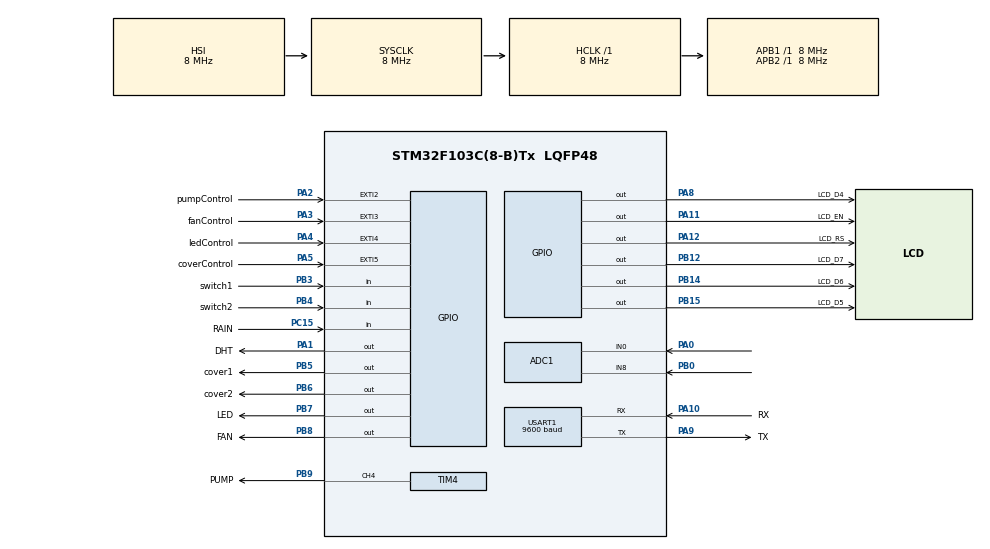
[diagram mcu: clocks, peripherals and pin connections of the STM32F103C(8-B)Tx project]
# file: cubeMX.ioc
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ADC1.Channel-3\#ChannelRegularConversion=ADC_CHANNEL_0
ADC1.Channel-5\#ChannelRegularConversion=ADC_CHANNEL_8
ADC1.ContinuousConvMode=ENABLE
ADC1.DiscontinuousConvMode=DISABLE
ADC1.EnableInjectedConversion=DISABLE
ADC1.EnableRegularConversion=ENABLE
ADC1.InjNumberOfConversion=0
ADC1.NbrOfConversion=2
ADC1.NbrOfConversionFlag=1
ADC1.Rank-3\#ChannelRegularConversion=1
ADC1.Rank-5\#ChannelRegularConversion=2
ADC1.SamplingTime-3\#ChannelRegularConversion=ADC_SAMPLETIME_1CYCLE_5
ADC1.SamplingTime-5\#ChannelRegularConversion=ADC_SAMPLETIME_1CYCLE_5
ADC1.master=1
Mcu.Family=STM32F1
Mcu.Name=STM32F103C(8-B)Tx
Mcu.Package=LQFP48
NVIC.EXTI2_IRQn=true\:3\:0\:true\:false\:true\:true\:true\:true
NVIC.EXTI3_IRQn=true\:3\:0\:true\:false\:true\:true\:true\:true
NVIC.EXTI4_IRQn=true\:3\:0\:true\:false\:true\:true\:true\:true
NVIC.EXTI9_5_IRQn=true\:3\:0\:true\:false\:true\:true\:true\:true
NVIC.PriorityGroup=NVIC_PRIORITYGROUP_4
NVIC.USART1_IRQn=true\:2\:0\:true\:false\:true\:true\:true\:true
PA0-WKUP.Signal=ADCx_IN0
PA1.GPIO_Label=DHT
PA1.Signal=GPIO_Output
PA10.GPIO_Label=RX
PA10.Mode=Asynchronous
PA10.Signal=USART1_RX
PA11.GPIO_Label=LCD_EN
PA11.Signal=GPIO_Output
PA12.GPIO_Label=LCD_RS
PA12.Signal=GPIO_Output
PA13.Mode=Serial_Wire
PA13.Signal=SYS_JTMS-SWDIO
PA14.Mode=Serial_Wire
PA14.Signal=SYS_JTCK-SWCLK
PA2.GPIO_Label=pumpControl
PA2.GPIO_ModeDefaultEXTI=GPIO_MODE_IT_FALLING
PA2.GPIO_PuPd=GPIO_PULLUP
PA2.Signal=GPXTI2
PA3.GPIO_Label=fanControl
PA3.GPIO_ModeDefaultEXTI=GPIO_MODE_IT_FALLING
PA3.GPIO_PuPd=GPIO_PULLUP
PA3.Signal=GPXTI3
PA4.GPIO_Label=ledControl
PA4.GPIO_ModeDefaultEXTI=GPIO_MODE_IT_FALLING
PA4.GPIO_PuPd=GPIO_PULLUP
PA4.Signal=GPXTI4
PA5.GPIO_Label=coverControl
PA5.GPIO_ModeDefaultEXTI=GPIO_MODE_IT_FALLING
PA5.GPIO_PuPd=GPIO_PULLUP
PA5.Signal=GPXTI5
PA8.GPIO_Label=LCD_D4
PA8.Signal=GPIO_Output
PA9.GPIO_Label=TX
PA9.Mode=Asynchronous
PA9.Signal=USART1_TX
PB0.Signal=ADCx_IN8
PB12.GPIO_Label=LCD_D7
PB12.Signal=GPIO_Output
PB14.GPIO_Label=LCD_D6
PB14.Signal=GPIO_Output
PB15.GPIO_Label=LCD_D5
PB15.Signal=GPIO_Output
PB3.GPIO_Label=switch1
PB3.Signal=GPIO_Input
PB4.GPIO_Label=switch2
PB4.Signal=GPIO_Input
PB5.GPIO_Label=cover1
PB5.Signal=GPIO_Output
PB6.GPIO_Label=cover2
PB6.Signal=GPIO_Output
PB7.GPIO_Label=LED
PB7.Signal=GPIO_Output
PB8.GPIO_Label=FAN
PB8.Signal=GPIO_Output
PB9.GPIO_Label=PUMP
PB9.Signal=S_TIM4_CH4
PC15-OSC32_OUT.GPIO_Label=RAIN
PC15-OSC32_OUT.Signal=GPIO_Input
ProjectManager.HeapSize=0x200
ProjectManager.StackSize=0x400
ProjectManager.TargetToolchain=MDK-ARM V5
RCC.AHBFreq_Value=8000000
RCC.APB1Freq_Value=8000000
RCC.APB1TimFreq_Value=8000000
RCC.APB2Freq_Value=8000000
RCC.APB2TimFreq_Value=8000000
RCC.HCLKFreq_Value=8000000
RCC.SYSCLKFreq_VALUE=8000000
RCC.USBFreq_Value=8000000
SH.ADCx_IN0.0=ADC1_IN0,IN0
SH.ADCx_IN8.0=ADC1_IN8,IN8
SH.S_TIM4_CH4.0=TIM4_CH4,PWM Generation4 CH4
TIM2.Prescaler=7
TIM4.Channel-PWM\ Generation4\ CH4=TIM_CHANNEL_4
TIM4.Period=99
TIM4.Prescaler=15
USART1.BaudRate=9600
USART1.VirtualMode=VM_ASYNC
VP_TIM2_VS_ClockSourceINT.Mode=Internal
VP_TIM4_VS_ClockSourceINT.Mode=Internal
board=custom

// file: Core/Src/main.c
/* USER CODE BEGIN Header */
/**
  ******************************************************************************
  * @file           : main.c
  * @brief          : Main program body
  ******************************************************************************
  * @attention
  *
  * Copyright (c) 2023 STMicroelectronics.
  * All rights reserved.
  *
  * This software is licensed under terms that can be found in the LICENSE file
  * in the root directory of this software component.
  * If no LICENSE file comes with this software, it is provided AS-IS.
  *
  ******************************************************************************
  */
/* USER CODE END Header */
#include "main.h"

/* USER CODE BEGIN Includes */
#include <stdio.h>
/* USER CODE END Includes */

ADC_HandleTypeDef hadc1;

TIM_HandleTypeDef htim2;
TIM_HandleTypeDef htim4;

UART_HandleTypeDef huart1;

/* USER CODE BEGIN PV */
/* VARIABLES SAVE VALUE OF SENSOR*/
int Temperature = 0, Humidity = 0;
int Soil = 0, Light = 0;
char statusRain = '0';
/* VARIABLES SAVE STATUS OF DEVICE */
char mode = '1';
int statusPump = 0, statusFan = 0, statusLed = 0, statusCover = 0, pullOut = 0;
/* VARIABLES SAVE UART */
char charR, null;
char stringR[18], arrData[20];
int id = -1;
/* VARIABLES SAVE RTC */
char rtc;
/* VARIABLES SAVE VALUE SET FOR MODE OF AUTO */
int lowerThreshold[3], upperThreshold[3];
/* USER CODE END PV */

void SystemClock_Config(void);
static void MX_GPIO_Init(void);
static void MX_TIM2_Init(void);
static void MX_USART1_UART_Init(void);
static void MX_ADC1_Init(void);
static void MX_TIM4_Init(void);

/* USER CODE BEGIN 0 */
#define DHT11_PORT GPIOA
#define DHT11_PIN DHT_Pin

void delayUs(uint16_t us);//delay micro second
void setPinIO(uint8_t io);//set input or output for DHT_PIN
void DHT11_Start ();//start communicate with DHT
uint8_t DHT11_Check_Response ();//check response from DHT
uint8_t DHT11_Read ();//get signal from DHT11
void lcdEnable();//set to enable send to LCD
void lcdSend4Bit(unsigned char data);//config 4 bit - LCD
void lcdCommand(unsigned char command);//send command
void lcdChar(unsigned char data);//send char
void lcdString(char *s);// send string
void lcdClear();//delete display
void lcdRowCol(unsigned char row, unsigned char collumn);//set row and collumn
void lcdInit();//Initnalize for LCD
void getValueDHT();//caculate and save DHT-value
void getValueSoilRainLight();//caculate and save SOIL - RAIN - LIGHT
void printValueSensor();//print value sensor to LCD
void controlDevice();//check and control device
void selectChannelADC(int selectMode);//select ADC-channel to use
void setValueControl();//control device according to the value setting
void HAL_GPIO_EXTI_Callback(uint16_t GPIO_Pin);//call to external interrupt
void HAL_UART_RxCpltCallback(UART_HandleTypeDef *huart);//call to UART interrupt
int convertToInt(char c);//convert char to int
char convertToChar(int i);//convert int to char

/* USER CODE END 0 */

int main(void)
{
  /* USER CODE BEGIN 1 */
  char format1[18], format2[18];
  /* USER CODE END 1 */

  /* MCU Configuration--------------------------------------------------------*/

  /* Reset of all peripherals, Initializes the Flash interface and the Systick. */
  HAL_Init();

  /* Configure the system clock */
  SystemClock_Config();

  /* Initialize all configured peripherals */
  MX_GPIO_Init();
  MX_TIM2_Init();
  MX_USART1_UART_Init();
  MX_ADC1_Init();
  MX_TIM4_Init();
  /* USER CODE BEGIN 2 */

  HAL_TIM_Base_Start(&htim2);
  lcdInit();
  lcdRowCol(1, 3);
  lcdString("SMART GARDEN");
  lcdRowCol(2, 2);
  lcdString("HUY-HIEU-TRONG");
  HAL_Delay(2000);
  lcdClear();
  lcdRowCol(1, 1);
  sprintf(format1, "T%c %cAIR%cSOIL%cAS", 0xDF, 0xFF, 0xFF, 0xFF);
  lcdString(format1);
  lcdRowCol(2, 3);
  sprintf(format2, "%c%c  %c%c  %c %c  %c", 0x43, 0xFF, 0x25, 0xFF, 0x25, 0xFF, 0x25);
  lcdString(format2);
  HAL_TIM_PWM_Start(&htim4, TIM_CHANNEL_4);
  HAL_UART_Receive_IT(&huart1,(uint8_t *)&charR,1);
  HAL_UART_Transmit(&huart1, (uint8_t*)&"Hello World!", 13, 100);

  /* USER CODE END 2 */

  /* Infinite loop */
  /* USER CODE BEGIN WHILE */
  while (1)
  {
	  getValueDHT();
    getValueSoilRainLight();
    printValueSensor();
    if(mode == '3')
      setValueControl();
    controlDevice();
		HAL_Delay(1200);
    /* USER CODE END WHILE */

  }
}

void SystemClock_Config(void)
{
  RCC_OscInitTypeDef RCC_OscInitStruct = {0};
  RCC_ClkInitTypeDef RCC_ClkInitStruct = {0};
  RCC_PeriphCLKInitTypeDef PeriphClkInit = {0};

  /** Initializes the RCC Oscillators according to the specified parameters
  * in the RCC_OscInitTypeDef structure.
  */
  RCC_OscInitStruct.OscillatorType = RCC_OSCILLATORTYPE_HSI;
  RCC_OscInitStruct.HSIState = RCC_HSI_ON;
  RCC_OscInitStruct.HSICalibrationValue = RCC_HSICALIBRATION_DEFAULT;
  RCC_OscInitStruct.PLL.PLLState = RCC_PLL_NONE;
  if (HAL_RCC_OscConfig(&RCC_OscInitStruct) != HAL_OK)
  {
    Error_Handler();
  }

  /** Initializes the CPU, AHB and APB buses clocks
  */
  RCC_ClkInitStruct.ClockType = RCC_CLOCKTYPE_HCLK|RCC_CLOCKTYPE_SYSCLK
                              |RCC_CLOCKTYPE_PCLK1|RCC_CLOCKTYPE_PCLK2;
  RCC_ClkInitStruct.SYSCLKSource = RCC_SYSCLKSOURCE_HSI;
  RCC_ClkInitStruct.AHBCLKDivider = RCC_SYSCLK_DIV1;
  RCC_ClkInitStruct.APB1CLKDivider = RCC_HCLK_DIV1;
  RCC_ClkInitStruct.APB2CLKDivider = RCC_HCLK_DIV1;

  if (HAL_RCC_ClockConfig(&RCC_ClkInitStruct, FLASH_LATENCY_0) != HAL_OK)
  {
    Error_Handler();
  }
  PeriphClkInit.PeriphClockSelection = RCC_PERIPHCLK_ADC;
  PeriphClkInit.AdcClockSelection = RCC_ADCPCLK2_DIV2;
  if (HAL_RCCEx_PeriphCLKConfig(&PeriphClkInit) != HAL_OK)
  {
    Error_Handler();
  }
}

static void MX_ADC1_Init(void)
{

  ADC_ChannelConfTypeDef sConfig = {0};

  /** Common config
  */
  hadc1.Instance = ADC1;
  hadc1.Init.ScanConvMode = ADC_SCAN_ENABLE;
  hadc1.Init.ContinuousConvMode = ENABLE;
  hadc1.Init.DiscontinuousConvMode = DISABLE;
  hadc1.Init.ExternalTrigConv = ADC_SOFTWARE_START;
  hadc1.Init.DataAlign = ADC_DATAALIGN_RIGHT;
  hadc1.Init.NbrOfConversion = 2;
  if (HAL_ADC_Init(&hadc1) != HAL_OK)
  {
    Error_Handler();
  }

  /** Configure Regular Channel
  */
  sConfig.Channel = ADC_CHANNEL_0;
  sConfig.Rank = ADC_REGULAR_RANK_1;
  sConfig.SamplingTime = ADC_SAMPLETIME_1CYCLE_5;
  if (HAL_ADC_ConfigChannel(&hadc1, &sConfig) != HAL_OK)
  {
    Error_Handler();
  }

  /** Configure Regular Channel
  */
  sConfig.Channel = ADC_CHANNEL_8;
  sConfig.Rank = ADC_REGULAR_RANK_2;
  if (HAL_ADC_ConfigChannel(&hadc1, &sConfig) != HAL_OK)
  {
    Error_Handler();
  }

}

static void MX_TIM2_Init(void)
{

  TIM_ClockConfigTypeDef sClockSourceConfig = {0};
  TIM_MasterConfigTypeDef sMasterConfig = {0};

  htim2.Instance = TIM2;
  htim2.Init.Prescaler = 7;
  htim2.Init.CounterMode = TIM_COUNTERMODE_UP;
  htim2.Init.Period = 65535;
  htim2.Init.ClockDivision = TIM_CLOCKDIVISION_DIV1;
  htim2.Init.AutoReloadPreload = TIM_AUTORELOAD_PRELOAD_DISABLE;
  if (HAL_TIM_Base_Init(&htim2) != HAL_OK)
  {
    Error_Handler();
  }
  sClockSourceConfig.ClockSource = TIM_CLOCKSOURCE_INTERNAL;
  if (HAL_TIM_ConfigClockSource(&htim2, &sClockSourceConfig) != HAL_OK)
  {
    Error_Handler();
  }
  sMasterConfig.MasterOutputTrigger = TIM_TRGO_RESET;
  sMasterConfig.MasterSlaveMode = TIM_MASTERSLAVEMODE_DISABLE;
  if (HAL_TIMEx_MasterConfigSynchronization(&htim2, &sMasterConfig) != HAL_OK)
  {
    Error_Handler();
  }

}

static void MX_TIM4_Init(void)
{

  TIM_ClockConfigTypeDef sClockSourceConfig = {0};
  TIM_MasterConfigTypeDef sMasterConfig = {0};
  TIM_OC_InitTypeDef sConfigOC = {0};

  htim4.Instance = TIM4;
  htim4.Init.Prescaler = 15;
  htim4.Init.CounterMode = TIM_COUNTERMODE_UP;
  htim4.Init.Period = 99;
  htim4.Init.ClockDivision = TIM_CLOCKDIVISION_DIV1;
  htim4.Init.AutoReloadPreload = TIM_AUTORELOAD_PRELOAD_DISABLE;
  if (HAL_TIM_Base_Init(&htim4) != HAL_OK)
  {
    Error_Handler();
  }
  sClockSourceConfig.ClockSource = TIM_CLOCKSOURCE_INTERNAL;
  if (HAL_TIM_ConfigClockSource(&htim4, &sClockSourceConfig) != HAL_OK)
  {
    Error_Handler();
  }
  if (HAL_TIM_PWM_Init(&htim4) != HAL_OK)
  {
    Error_Handler();
  }
  sMasterConfig.MasterOutputTrigger = TIM_TRGO_RESET;
  sMasterConfig.MasterSlaveMode = TIM_MASTERSLAVEMODE_DISABLE;
  if (HAL_TIMEx_MasterConfigSynchronization(&htim4, &sMasterConfig) != HAL_OK)
  {
    Error_Handler();
  }
  sConfigOC.OCMode = TIM_OCMODE_PWM1;
  sConfigOC.Pulse = 0;
  sConfigOC.OCPolarity = TIM_OCPOLARITY_HIGH;
  sConfigOC.OCFastMode = TIM_OCFAST_DISABLE;
  if (HAL_TIM_PWM_ConfigChannel(&htim4, &sConfigOC, TIM_CHANNEL_4) != HAL_OK)
  {
    Error_Handler();
  }
  HAL_TIM_MspPostInit(&htim4);

}

static void MX_USART1_UART_Init(void)
{

  huart1.Instance = USART1;
  huart1.Init.BaudRate = 9600;
  huart1.Init.WordLength = UART_WORDLENGTH_8B;
  huart1.Init.StopBits = UART_STOPBITS_1;
  huart1.Init.Parity = UART_PARITY_NONE;
  huart1.Init.Mode = UART_MODE_TX_RX;
  huart1.Init.HwFlowCtl = UART_HWCONTROL_NONE;
  huart1.Init.OverSampling = UART_OVERSAMPLING_16;
  if (HAL_UART_Init(&huart1) != HAL_OK)
  {
    Error_Handler();
  }

}

static void MX_GPIO_Init(void)
{
  GPIO_InitTypeDef GPIO_InitStruct = {0};

  /* GPIO Ports Clock Enable */
  __HAL_RCC_GPIOC_CLK_ENABLE();
  __HAL_RCC_GPIOA_CLK_ENABLE();
  __HAL_RCC_GPIOB_CLK_ENABLE();

  /*Configure GPIO pin Output Level */
  HAL_GPIO_WritePin(GPIOA, DHT_Pin|LCD_D4_Pin|LCD_EN_Pin|LCD_RS_Pin, GPIO_PIN_RESET);

  /*Configure GPIO pin Output Level */
  HAL_GPIO_WritePin(GPIOB, LCD_D7_Pin|LCD_D6_Pin|LCD_D5_Pin|cover1_Pin
                          |cover2_Pin|LED_Pin|FAN_Pin, GPIO_PIN_RESET);

  /*Configure GPIO pin : RAIN_Pin */
  GPIO_InitStruct.Pin = RAIN_Pin;
  GPIO_InitStruct.Mode = GPIO_MODE_INPUT;
  GPIO_InitStruct.Pull = GPIO_NOPULL;
  HAL_GPIO_Init(RAIN_GPIO_Port, &GPIO_InitStruct);

  /*Configure GPIO pins : DHT_Pin LCD_D4_Pin LCD_EN_Pin LCD_RS_Pin */
  GPIO_InitStruct.Pin = DHT_Pin|LCD_D4_Pin|LCD_EN_Pin|LCD_RS_Pin;
  GPIO_InitStruct.Mode = GPIO_MODE_OUTPUT_PP;
  GPIO_InitStruct.Pull = GPIO_NOPULL;
  GPIO_InitStruct.Speed = GPIO_SPEED_FREQ_LOW;
  HAL_GPIO_Init(GPIOA, &GPIO_InitStruct);

  /*Configure GPIO pins : pumpControl_Pin fanControl_Pin ledControl_Pin coverControl_Pin */
  GPIO_InitStruct.Pin = pumpControl_Pin|fanControl_Pin|ledControl_Pin|coverControl_Pin;
  GPIO_InitStruct.Mode = GPIO_MODE_IT_FALLING;
  GPIO_InitStruct.Pull = GPIO_PULLUP;
  HAL_GPIO_Init(GPIOA, &GPIO_InitStruct);

  /*Configure GPIO pins : LCD_D7_Pin LCD_D6_Pin LCD_D5_Pin cover1_Pin
                           cover2_Pin LED_Pin FAN_Pin */
  GPIO_InitStruct.Pin = LCD_D7_Pin|LCD_D6_Pin|LCD_D5_Pin|cover1_Pin
                          |cover2_Pin|LED_Pin|FAN_Pin;
  GPIO_InitStruct.Mode = GPIO_MODE_OUTPUT_PP;
  GPIO_InitStruct.Pull = GPIO_NOPULL;
  GPIO_InitStruct.Speed = GPIO_SPEED_FREQ_LOW;
  HAL_GPIO_Init(GPIOB, &GPIO_InitStruct);

  /*Configure GPIO pins : switch1_Pin switch2_Pin */
  GPIO_InitStruct.Pin = switch1_Pin|switch2_Pin;
  GPIO_InitStruct.Mode = GPIO_MODE_INPUT;
  GPIO_InitStruct.Pull = GPIO_NOPULL;
  HAL_GPIO_Init(GPIOB, &GPIO_InitStruct);

  /* EXTI interrupt init*/
  HAL_NVIC_SetPriority(EXTI2_IRQn, 3, 0);
  HAL_NVIC_EnableIRQ(EXTI2_IRQn);

  HAL_NVIC_SetPriority(EXTI3_IRQn, 3, 0);
  HAL_NVIC_EnableIRQ(EXTI3_IRQn);

  HAL_NVIC_SetPriority(EXTI4_IRQn, 3, 0);
  HAL_NVIC_EnableIRQ(EXTI4_IRQn);

  HAL_NVIC_SetPriority(EXTI9_5_IRQn, 3, 0);
  HAL_NVIC_EnableIRQ(EXTI9_5_IRQn);

}

/* USER CODE BEGIN 4 */
void delayUs(uint16_t us){
  __HAL_TIM_SET_COUNTER(&htim2, 0);
  while(__HAL_TIM_GET_COUNTER(&htim2) < us);
}

void setPinIO(uint8_t io){
  GPIO_InitTypeDef GPIO_InitStruct = {0};
	GPIO_InitStruct.Pin = DHT11_PIN;
  if(io){//set input
    GPIO_InitStruct.Mode = GPIO_MODE_INPUT;
    GPIO_InitStruct.Pull = GPIO_NOPULL;
    HAL_GPIO_Init(DHT11_PORT, &GPIO_InitStruct);
  }
  else{
    GPIO_InitStruct.Mode = GPIO_MODE_OUTPUT_PP;
    GPIO_InitStruct.Speed = GPIO_SPEED_FREQ_LOW;
    HAL_GPIO_Init(DHT11_PORT, &GPIO_InitStruct);
  }
}
void DHT11_Start (void)
{
	setPinIO(0);  // set the pin as output
  HAL_GPIO_WritePin(DHT11_PORT, DHT11_PIN, 1); //initialize with data pin high
	HAL_Delay(1); //wait for 1 milliseconds
	HAL_GPIO_WritePin (DHT11_PORT, DHT11_PIN, 0);   // pull the pin low
	delayUs (18000);   // wait for 18ms
  HAL_GPIO_WritePin (DHT11_PORT, DHT11_PIN, 1);   // pull the pin high
	delayUs (20);   // wait for 20us
	setPinIO(1);    // set as input
}

uint8_t DHT11_Check_Response (void)
{
	uint8_t Response = 0;
	delayUs (40);
	if (!(HAL_GPIO_ReadPin (DHT11_PORT, DHT11_PIN)))
	{
		delayUs (80);
		if ((HAL_GPIO_ReadPin (DHT11_PORT, DHT11_PIN))) Response = 1;
		else Response = -1; // 255
	}
	while ((HAL_GPIO_ReadPin (DHT11_PORT, DHT11_PIN)));   // wait for the pin to go low

	return Response;
}

uint8_t DHT11_Read (void)
{
	uint8_t i,j;
	for (j=0;j<8;j++)
	{
		while (!(HAL_GPIO_ReadPin (DHT11_PORT, DHT11_PIN)));   // wait for the pin to go high
		delayUs (40);   // wait for 40 us
		if (!(HAL_GPIO_ReadPin (DHT11_PORT, DHT11_PIN)))   // if the pin is low
		{
			i&= ~(1<<(7-j));   // write 0
		}
		else i|= (1<<(7-j));  // if the pin is high, write 1
		while ((HAL_GPIO_ReadPin (DHT11_PORT, DHT11_PIN)));  // wait for the pin to go low
	}
	return i;
}
void lcdEnable(void){
  HAL_GPIO_WritePin(GPIOA, LCD_EN_Pin, GPIO_PIN_SET);
  HAL_Delay(1);
  HAL_GPIO_WritePin(GPIOA, LCD_EN_Pin, GPIO_PIN_RESET);
  HAL_Delay(1);
}

void lcdSend4Bit(unsigned char data){
  HAL_GPIO_WritePin(GPIOA, LCD_D4_Pin, data & 0x01);
  HAL_GPIO_WritePin(GPIOB, LCD_D5_Pin, (data>>1) & 0x01);
  HAL_GPIO_WritePin(GPIOB, LCD_D6_Pin, (data>>2) & 0x01);
  HAL_GPIO_WritePin(GPIOB, LCD_D7_Pin, (data>>3) & 0x01);
}

void lcdCommand(unsigned char command){
  lcdSend4Bit(command >> 4);
  lcdEnable();
  lcdSend4Bit(command);
  lcdEnable();
}

void lcdChar(unsigned char data){
  HAL_GPIO_WritePin(GPIOA, LCD_RS_Pin, GPIO_PIN_SET);
  lcdCommand(data);
  HAL_GPIO_WritePin(GPIOA, LCD_RS_Pin, GPIO_PIN_RESET);
}

void lcdString(char *s){
  while(*s){
    lcdChar(*s);
    s++;
  }
}

void lcdClear(){
  lcdCommand(0x01);
  HAL_Delay(1);
}

void lcdRowCol(unsigned char row, unsigned char collumn){
  unsigned char address;
  if(row == 1)//hang 1
    address = 0x80 + (collumn - 1);
  else //hang 2
    address = 0xC0 + (collumn - 1);
  lcdCommand(address);
}
void lcdInit(){
  lcdSend4Bit(0x00);
  HAL_GPIO_WritePin(GPIOA, LCD_RS_Pin, GPIO_PIN_RESET);
  lcdSend4Bit(0x03);
  lcdEnable();
  lcdEnable();
  lcdEnable();
  lcdSend4Bit(0x02);
  lcdEnable();
  lcdCommand(0x28);
  lcdCommand(0x0C);
  lcdCommand(0x06);
  lcdCommand(0x01);
}

void getValueDHT(){
  uint8_t Presence = 0, Rh_byte1, Rh_byte2, Temp_byte1, Temp_byte2, SUM;
  DHT11_Start();
  Presence = DHT11_Check_Response(); //record the response from the sensor
  if(Presence){
    Rh_byte1 = DHT11_Read ();//phan nguyen do am khong khi
    Rh_byte2 = DHT11_Read ();//phan du do am khong khi
    Temp_byte1 = DHT11_Read ();//phan nguyen nhiet do
    Temp_byte2 = DHT11_Read ();//phan du nhiet do
    SUM = DHT11_Read ();//phan tong kiem tra
    if(SUM == Rh_byte1 + Rh_byte2 + Temp_byte1  + Temp_byte2){
      Temperature =  Temp_byte1;
      Humidity =  Rh_byte1;
    }
  }
}

void getValueSoilRainLight(){
  selectChannelADC(8);
  HAL_ADC_Start(&hadc1);

  HAL_ADC_PollForConversion(&hadc1, 1000);
  Light = HAL_ADC_GetValue(&hadc1);
  Light = Light * 100 /4096;//anh sang
  HAL_ADC_Stop(&hadc1);
	HAL_Delay(100);
  selectChannelADC(0);
  HAL_ADC_Start(&hadc1);

  HAL_ADC_PollForConversion(&hadc1, 1000);
  Soil = HAL_ADC_GetValue(&hadc1);
  Soil = 100 - (Soil * 100 / 4096);//do am dat
  HAL_ADC_Stop(&hadc1);
	HAL_Delay(100);

  if(HAL_GPIO_ReadPin(GPIOC, RAIN_Pin))// trang thai rain sensor
    statusRain = '0';
  else
    statusRain = '1';
}

void printValueSensor(){
  lcdRowCol(2, 1);//dong 2 cot 1
  lcdChar(Temperature/10 + 0x30);
  lcdChar(Temperature%10 + 0x30);
  lcdRowCol(2, 5);//dong 2 cot 5
  lcdChar(Humidity/10 + 0x30);
  lcdChar(Humidity%10 + 0x30);
  lcdRowCol(2, 9);
  lcdChar(Soil/10 + 0x30);
  lcdChar(Soil%10 + 0x30);
  lcdRowCol(2, 14);
  lcdChar(Light/10 + 0x30);
  lcdChar(Light%10 + 0x30);;
}

void controlDevice(){

  if(statusPump == 1)
    __HAL_TIM_SetCompare(&htim4, TIM_CHANNEL_4, 69);//"yeu"
  else if(statusPump == 2)
    __HAL_TIM_SetCompare(&htim4, TIM_CHANNEL_4, 84);//"trung binh"
  else if(statusPump == 3)
    __HAL_TIM_SetCompare(&htim4, TIM_CHANNEL_4, 99);//"manh"
  else
    __HAL_TIM_SetCompare(&htim4, TIM_CHANNEL_4, 0);
  HAL_GPIO_WritePin(FAN_GPIO_Port, FAN_Pin, ~statusFan);
  HAL_GPIO_WritePin(LED_GPIO_Port, LED_Pin, statusLed);
  if(statusCover){//man che hoat dong
    if(pullOut == 0){//man che keo ra
      HAL_GPIO_WritePin(cover1_GPIO_Port, cover1_Pin, GPIO_PIN_SET);
      HAL_GPIO_WritePin(cover2_GPIO_Port, cover2_Pin, GPIO_PIN_RESET);
      while(HAL_GPIO_ReadPin(switch1_GPIO_Port, switch1_Pin) == 0 && statusCover != 0);// doi den khi cham den cong tac hanh trinh 1 hoac nhan nut dung
    }
    if(pullOut != 0){//man che keo vao
      HAL_GPIO_WritePin(cover1_GPIO_Port, cover1_Pin, GPIO_PIN_RESET);
      HAL_GPIO_WritePin(cover2_GPIO_Port, cover2_Pin, GPIO_PIN_SET);
      while(HAL_GPIO_ReadPin(switch2_GPIO_Port, switch2_Pin) == 0 && statusCover != 0);// doi den khi cham den cong tac hanh trinh 2 hoac nhan nut dung
    }
    if(statusCover != 0)
      pullOut = ~pullOut;// dao huong mai che o lan bat tiep theo
    statusCover = 0;
    HAL_GPIO_WritePin(cover1_GPIO_Port, cover1_Pin, GPIO_PIN_RESET);
    HAL_GPIO_WritePin(cover2_GPIO_Port, cover2_Pin, GPIO_PIN_RESET);

  }
}

void selectChannelADC(int selectMode){
  ADC_ChannelConfTypeDef sConfig = {0};
  if(selectMode == 0)
    sConfig.Channel = ADC_CHANNEL_0;
  else
    sConfig.Channel = ADC_CHANNEL_8;
  sConfig.Rank = ADC_REGULAR_RANK_1;
  sConfig.SamplingTime = ADC_SAMPLETIME_1CYCLE_5;
  if (HAL_ADC_ConfigChannel(&hadc1, &sConfig) != HAL_OK)
  {
    Error_Handler();
  }
}

void setValueControl(){
//  if(statusRain == '0')
//    statusCover = pullOut != 0 ? ~statusCover : statusCover;//khong che
  if(Light > upperThreshold[0] && Temperature > upperThreshold[2]){
    statusCover = pullOut == 0 ? ~statusCover : statusCover;//che
    statusFan = statusFan == 0 ? ~statusFan : statusFan;//bat quat
  }
  if((Light < lowerThreshold[0] || Temperature < (upperThreshold[2] - 10)) && statusRain == '0'){
    statusCover = pullOut != 0 ? ~statusCover : statusCover;//khong che
    statusFan = statusFan != 0 ? ~statusFan : statusFan;//tat quat
  }
  if(statusRain == '1')
    statusCover = pullOut == 0 ? ~statusCover : statusCover;//che
  if(Soil < lowerThreshold[1] && statusPump == 0)
    statusPump = 3;
  if(Soil > upperThreshold[1] && statusPump != 0)
    statusPump = 0;
  if(Temperature < lowerThreshold[2])
    statusLed = statusLed == 0 ? ~statusLed : statusLed;
  if(Temperature > (lowerThreshold[2] + 5))
    statusLed = statusLed != 0 ? ~statusLed : statusLed;
}
void HAL_GPIO_EXTI_Callback(uint16_t GPIO_Pin)
{
  if (GPIO_Pin == pumpControl_Pin){
    HAL_Delay(20);//chong rung phim
    if (HAL_GPIO_ReadPin(GPIOA, GPIO_PIN_2) == 0)
      statusPump = statusPump == 3 ? 0 : statusPump + 1;
  }
  else if (GPIO_Pin == fanControl_Pin){
    HAL_Delay(20);//chong rung phim
    if (HAL_GPIO_ReadPin(GPIOA, GPIO_PIN_3) == 0)
        statusFan = ~statusFan;
  }

  else if (GPIO_Pin == ledControl_Pin){
    HAL_Delay(20);//chong rung phim
    if (HAL_GPIO_ReadPin(GPIOA, GPIO_PIN_4) == 0)
        statusLed = ~statusLed;
  }

  else if (GPIO_Pin == coverControl_Pin){
    HAL_Delay(20);//chong rung phim
    if (HAL_GPIO_ReadPin(GPIOA, GPIO_PIN_5) == 0)
        statusCover = ~statusCover;
  }
}
void HAL_UART_RxCpltCallback(UART_HandleTypeDef *huart)
{
  if(charR != 13){
    stringR[++id] = charR;
  }
  if(charR == 13){
    if(stringR[id] == '!'){
      rtc = stringR[id];
    }
    else if(stringR[id] == '1')
      mode = '1';//che do dieu khien bang phim nhan
    else if(stringR[id] == '2'){
      mode = '2';//che do cho phep dieu khien tu xa
      statusPump = convertToInt(stringR[1]);
      if(stringR[2] != convertToChar(statusFan))
        statusFan = ~statusFan;
      if(stringR[3] != convertToChar(statusLed))
        statusLed = ~statusLed;
      if(stringR[4] != convertToChar(pullOut))
        statusCover = statusCover == 0 ? ~statusCover : statusCover;
    }
    else{
      mode = '3';//che do dieu khien tu dong
      lowerThreshold[0] = convertToInt(stringR[1]) * 10 + convertToInt(stringR[2]);//nguong anh sang duoi
      upperThreshold[0] = convertToInt(stringR[3]) * 10 + convertToInt(stringR[4]);//nguong anh sang tren
      lowerThreshold[1] = convertToInt(stringR[5]) * 10 + convertToInt(stringR[6]);//nguong do am dat duoi
      upperThreshold[1] = convertToInt(stringR[7]) * 10 + convertToInt(stringR[8]);//nguong do am dat tren
      lowerThreshold[2] = convertToInt(stringR[9]) * 10 + convertToInt(stringR[10]);//nguong nhiet do duoi
      upperThreshold[2] = convertToInt(stringR[11]) * 10 + convertToInt(stringR[12]);//nguong nhiet do tren
    }
    sprintf(arrData, "%d%d%d%d%d%d%d%d%c/%d%c%c%c \n", Temperature/10, Temperature%10, Humidity/10, Humidity%10,
                                                  Soil/10, Soil%10, Light/10, Light%10, statusRain,
                                                  statusPump, convertToChar(statusFan), convertToChar(statusLed), convertToChar(pullOut));
    HAL_UART_Transmit(&huart1, (uint8_t*)&arrData, sizeof(arrData), 100);
    for(int count = 0; count < sizeof(stringR); count++)
      stringR[count] = NULL;
    id = -1;
  }
  HAL_UART_Receive_IT(&huart1, (uint8_t*)&charR, 1);
}
int convertToInt(char c){
  return (int)c - 48;
}

char convertToChar(int i){
  if(i == 0)
    return '0';
  else
    return '1';
}

/* USER CODE END 4 */

void Error_Handler(void)
{
  __disable_irq();
  while (1)
  {
  }
}
